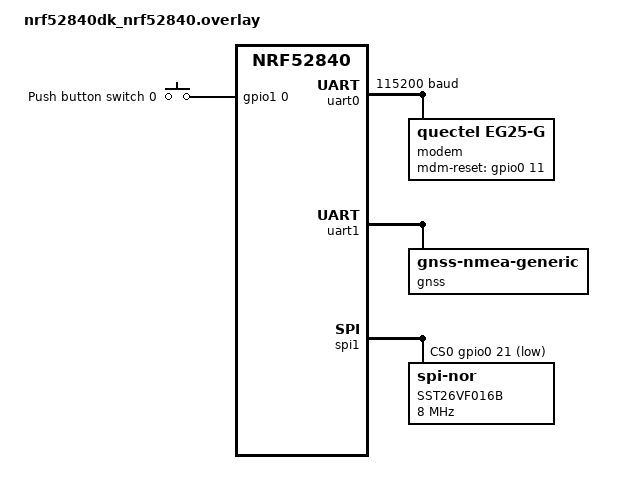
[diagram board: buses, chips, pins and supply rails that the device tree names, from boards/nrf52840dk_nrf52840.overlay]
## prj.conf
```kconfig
# Copyright (c) 2023 Trackunit Corporation
# SPDX-License-Identifier: Apache-2.0

CONFIG_GNSS=y
CONFIG_GNSS_SATELLITES=y
CONFIG_GPIO=y
CONFIG_LOG=y
CONFIG_LOG_BUFFER_SIZE=8192
CONFIG_GNSS_DUMP_TO_LOG=y
CONFIG_GNSS_DUMP_TO_LOG_BUF_SIZE=1024
CONFIG_GNSS_LOG_LEVEL_DBG=y
CONFIG_MODEM_MODULES_LOG_LEVEL_DBG=y
CONFIG_UART_INTERRUPT_DRIVEN=y
```

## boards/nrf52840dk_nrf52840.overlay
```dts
/ {
	aliases {
		modem-uart = &uart0;
		modem = &modem;
		gpio0 = &gpio0;
		gpio1 = &gpio1;
		adc0 =  &adc;
		spiflash = &spi1;
		spiflash0 = &SST26VF016B;
		gnss = &gnss;
	};
};

/{
chosen {
	zephyr,console = &uart0;
	zephyr,shell-uart = &uart0;
	zephyr,uart-mcumgr = &uart0;
	zephyr,bt-mon-uart = &uart0;
	zephyr,bt-c2h-uart = &uart0;
	zephyr,sram = &sram0;
	zephyr,flash = &flash0;
	// zephyr,code-partition = &slot0_partition;
	nordic,pm-ext-flash = &SST26VF016B;
};


leds {
	compatible = "gpio-leds";
	led0: led_0 {
		status = "disabled";
		gpios = <&gpio0 13 GPIO_ACTIVE_LOW>;
		label = "Green LED 0";
	};
	led1: led_1 {
		status = "disabled";
		gpios = <&gpio0 14 GPIO_ACTIVE_LOW>;
		label = "Green LED 1";
	};
	led2: led_2 {
		status = "disabled";
		gpios = <&gpio0 15 GPIO_ACTIVE_LOW>;
		label = "Green LED 2";
	};
	led3: led_3 {
		status = "disabled";
		gpios = <&gpio0 16 GPIO_ACTIVE_LOW>;
		label = "Green LED 3";
	};
};

pwmleds {
	compatible = "pwm-leds";
	status = "disabled";
	pwm_led0: pwm_led_0 {
		pwms = <&pwm0 0 PWM_MSEC(20) PWM_POLARITY_INVERTED>;
	};
};

buttons {
	compatible = "gpio-keys";
	button0: button_0 {
		status = "okay";
		gpios = <&gpio1 0 (GPIO_PULL_UP | GPIO_ACTIVE_HIGH)>;
		label = "Push button switch 0";
		zephyr,code = <INPUT_KEY_0>;
	};
	button1: button_1 {
		status = "disabled";
		gpios = <&gpio0 12 (GPIO_PULL_UP | GPIO_ACTIVE_LOW)>;
		label = "Push button switch 1";
		zephyr,code = <INPUT_KEY_1>;
	};
	button2: button_2 {
		status = "disabled";
		gpios = <&gpio0 24 (GPIO_PULL_UP | GPIO_ACTIVE_LOW)>;
		label = "Push button switch 2";
		zephyr,code = <INPUT_KEY_2>;
	};
	button3: button_3 {
		status = "disabled";
		gpios = <&gpio0 25 (GPIO_PULL_UP | GPIO_ACTIVE_LOW)>;
		label = "Push button switch 3";
		zephyr,code = <INPUT_KEY_3>;
	};
};

};
&uart0 {
	compatible = "nordic,nrf-uarte";
	status = "okay";
	current-speed = <115200>;
	modem: modem {
		compatible = "quectel,eg25-g";
		// mdm-power-gpios = <&gpio0 10 GPIO_ACTIVE_HIGH>;
		mdm-reset-gpios = <&gpio0 11 GPIO_ACTIVE_HIGH>;
		status = "okay";
	};
};

&pinctrl {
	uart0_default: uart0_default {
		group1 {
			psels = <NRF_PSEL(UART_TX, 0, 19)>;
					// <NRF_PSEL(UART_RTS, 0, 5)>;
		};
		group2 {
			psels = <NRF_PSEL(UART_RX, 0, 20)>;
					// <NRF_PSEL(UART_CTS, 0, 7)>;
			bias-pull-up;
		};
	};

	uart0_sleep: uart0_sleep {
		group1 {
			psels = <NRF_PSEL(UART_TX, 0, 19)>,
					<NRF_PSEL(UART_RX, 0, 20)>;
					// <NRF_PSEL(UART_RTS, 0, 5)>,
					// <NRF_PSEL(UART_CTS, 0, 7)>;
			low-power-enable;
		};
	};
	
	spi1_default: spi1_default {
		group1 {
			psels = <NRF_PSEL(SPIM_SCK, 0, 23)>,
			        <NRF_PSEL(SPIM_MOSI, 0, 24)>,
			        <NRF_PSEL(SPIM_MISO, 0, 22)>;
		};
	};

	spi1_sleep: spi1_sleep {
		group1 {
			psels = <NRF_PSEL(SPIM_SCK, 0, 23)>,
			        <NRF_PSEL(SPIM_MOSI, 0, 24)>,
			        <NRF_PSEL(SPIM_MISO, 0, 22)>;
			low-power-enable;
		};
	};

	uart1_default: uart1_default {
		group1 {
			psels = <NRF_PSEL(UART_RX, 0, 31)>;
			bias-pull-up;
		};
		group2 {
			psels = <NRF_PSEL(UART_TX, 0, 30)>;
		};
	};

	uart1_sleep: uart1_sleep {
		group1 {
			psels = <NRF_PSEL(UART_RX, 0, 31)>,
				<NRF_PSEL(UART_TX, 0, 30)>;
			low-power-enable;
		};
	};
};

&uart1 {
	status = "okay";
	// current-speed = <9600>;


	gnss: gnss-nmea-generic {
		compatible = "gnss-nmea-generic";
	};
};

&i2c0 {
	status = "disabled";
};


&i2c1 {
	status = "disabled";
};


&spi0 {
	status = "disabled";
};

&spi1 {
	status = "okay";
	cs-gpios = <&gpio0 21 GPIO_ACTIVE_LOW>;
	SST26VF016B: SST26VF016B@0 {
		compatible = "jedec,spi-nor";
		reg = <0>;
		spi-max-frequency = <8000000>;
		requires-ulbpr;
		// label = "SST26VF016B";
		jedec-id = [ BF 26 41 ];
		//sfdp-bfp = [
		//    e5 20 f1 ff  ff ff ff 03  44 eb 08 6b  08 3b 04 bb
		//    ee ff ff ff  ff ff 00 ff  ff ff 00 ff  0c 20 0f 52
		//    10 d8 00 ff  23 72 f5 00  82 ed 04 cc  44 83 68 44
		//    30 b0 30 b0  f7 c4 d5 5c  00 be 29 ff  f0 d0 ff ff
		//];
		size = <16777216>;
		//size = <67108864>;
		status = "okay";
		has-dpd;
		t-enter-dpd = <10000>;
		t-exit-dpd = <35000>;
	};

};

&spi2 {
	status = "disabled";
};
&spi3 {
	status = "disabled";
};

&qspi {
	status = "disabled";
};
```

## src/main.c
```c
/*
 * Copyright (c) 2023 Trackunit Corporation
 *
 * SPDX-License-Identifier: Apache-2.0
 */

#include <stdio.h>
#include <zephyr/device.h>
#include <zephyr/drivers/gnss.h>
#include <zephyr/logging/log.h>
#include <zephyr/device.h>
#include <zephyr/drivers/gpio.h>
#include <zephyr/kernel.h>

#define GNSS_MODEM DEVICE_DT_GET(DT_ALIAS(gnss))

LOG_MODULE_REGISTER(gnss_sample, CONFIG_GNSS_LOG_LEVEL);

static void gnss_data_cb(const struct device *dev, const struct gnss_data *data)
{
	if (data->info.fix_status != GNSS_FIX_STATUS_NO_FIX) {
		printf("Got a fix!\n");
	}
}
GNSS_DATA_CALLBACK_DEFINE(GNSS_MODEM, gnss_data_cb);

#if CONFIG_GNSS_SATELLITES
static void gnss_satellites_cb(const struct device *dev, const struct gnss_satellite *satellites,
			       uint16_t size)
{
	unsigned int tracked_count = 0;

	for (unsigned int i = 0; i != size; ++i) {
		tracked_count += satellites[i].is_tracked;
	}
	printf("%u satellite%s reported (of which %u tracked)!\n",
		size, size > 1 ? "s" : "", tracked_count);
}
#endif
GNSS_SATELLITES_CALLBACK_DEFINE(GNSS_MODEM, gnss_satellites_cb);



const struct device *gpio_device;
const struct device *gpio1;

void GPIO_INIT() {
  gpio_device = DEVICE_DT_GET(DT_ALIAS(gpio0));
  gpio1 = DEVICE_DT_GET(DT_ALIAS(gpio1));
  // gpio_pin_configure(gpio_device, PIN_MuxCTRL1, GPIO_OUTPUT);
  // gpio_pin_configure(gpio_device, PIN_MuxCTRL2, GPIO_OUTPUT);
  // gpio_pin_configure(gpio_device, PIN_BATTERY, GPIO_OUTPUT | GPIO_INPUT);
  // gpio_pin_configure(gpio_device, PIN_3V3_EX_EN, GPIO_OUTPUT | GPIO_INPUT);
  // gpio_pin_configure(gpio_device, PIN_SCL, GPIO_OUTPUT);
  // gpio_pin_configure(gpio_device, PIN_SDA, GPIO_OUTPUT);

  // gpio_pin_configure(gpio_device, PIN_nRF_PWRKEY, GPIO_OUTPUT);
  // gpio_pin_configure(gpio_device, PIN_5V_EN, GPIO_OUTPUT);
  // gpio_pin_configure(gpio_device, PIN_M_EN, GPIO_OUTPUT);
  // gpio_pin_configure(gpio_device, PIN_PWM, GPIO_OUTPUT);
  // gpio_pin_configure(gpio_device, PIN_DIR, GPIO_OUTPUT);
  // gpio_pin_configure(gpio_device, PIN_SAT_RESET, GPIO_OUTPUT);
  // gpio_pin_configure(gpio_device, PIN_SAT_PWR_ON, GPIO_OUTPUT);
  // gpio_pin_configure(gpio_device, PIN_LG, GPIO_OUTPUT);
  // gpio_pin_configure(gpio_device, PIN_LR, GPIO_OUTPUT);
  // gpio_pin_configure(gpio_device, PIN_LB, GPIO_OUTPUT);
  // gpio_pin_configure(gpio_device, PIN_ChargeFeedback, GPIO_INPUT);
  // gpio_pin_configure(gpio_device, PIN_Motor_input2_Connector_B, GPIO_OUTPUT);
  // gpio_pin_set(gpio_device, PIN_Motor_input2_Connector_B, 0);

  // gpio_pin_configure(gpio_device, PIN_Motor_input1_Switch_Feedback,
  //                    GPIO_INPUT | GPIO_OUTPUT | GPIO_ACTIVE_HIGH);
  // gpio_pin_set(gpio_device, PIN_Motor_input1_Switch_Feedback, 1);
  // //
  // gpio_pin_interrupt_configure(gpio_device,PIN_Motor_input1_Switch_Feedback,GPIO_INT_EDGE_RISING);

  // gpio_pin_configure(gpio_device, PIN_Motor_Output_1_Connector_A,
  //                    GPIO_INPUT | GPIO_ACTIVE_HIGH | GPIO_PULL_UP);
  // gpio_pin_interrupt_configure(gpio_device, PIN_Motor_Output_1_Connector_A,
  //                              GPIO_INT_EDGE_RISING);

  // gpio_pin_set(gpio_device, PIN_MuxCTRL1, 0);
  // gpio_pin_set(gpio_device, PIN_MuxCTRL2, 0);
  // gpio_pin_set(gpio_device, PIN_5V_EN, 0);
  // gpio_pin_set(gpio_device, PIN_DIR, 0);
  // gpio_pin_set(gpio_device, PIN_M_EN, 0);
  // gpio_pin_set(gpio_device, PIN_PWM, 0);
  // gpio_pin_set(gpio_device, PIN_SAT_PWR_ON, 0);
  // gpio_pin_set(gpio_device, PIN_SAT_RESET, 0);
  // gpio_pin_set(gpio_device, PIN_LR, 0);
  // gpio_pin_set(gpio_device, PIN_LB, 0);
  // gpio_pin_set(gpio_device, PIN_LG, 0);
  // gpio_pin_set(gpio_device, PIN_BATTERY, 0); // thuraya powerswitch
  // gpio_pin_set(gpio_device, PIN_3V3_EX_EN,
  //              1); // 3v3 powerswitch (microbus & flash memory)

  gpio_pin_configure(gpio1, 1, GPIO_OUTPUT);
  gpio_pin_set(gpio1, 0, 1);
//   k_msleep(300);
  // gpio_pin_configure(gpio_device, 8, GPIO_OUTPUT);
  // gpio_pin_set(gpio_device, 8, 1);
}


int main(void)
{
  	GPIO_INIT();

	// int err = gnss_set_fix_rate(GNSS_MODEM, 30 * 1000);
  // printk("\n\nfix rate %d\r\n\r\n\n\n\n\n",err);

	return 0;
}
```
